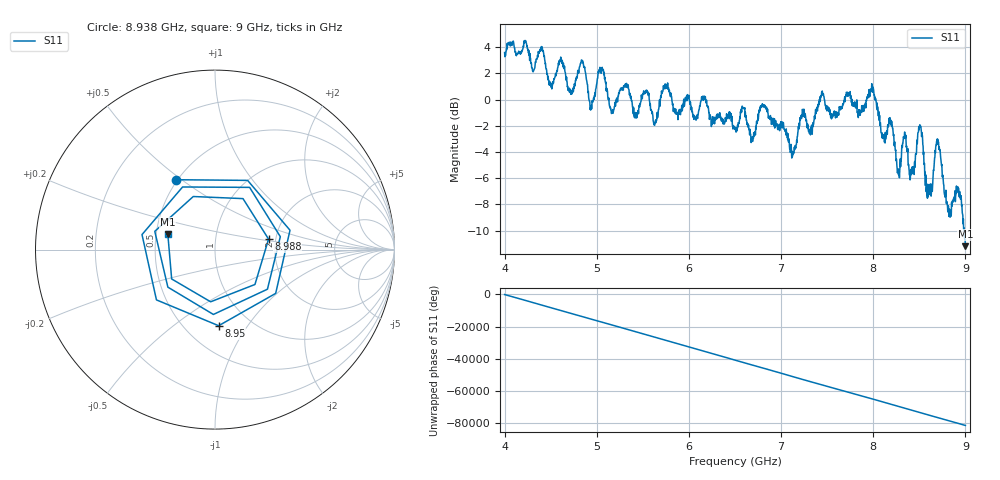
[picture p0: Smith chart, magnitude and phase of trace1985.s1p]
! Created with skrf 1.8.0 (http://scikit-rf.org).
# Hz S RI R 50.0
!freq ReS11 ImS11
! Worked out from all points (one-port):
!   1601 points, 4 GHz to 9 GHz, reference 50 ohm
!   lowest |S11| = -11.2 dB at 9 GHz (marker M1), VSWR 1.76, Z = 28.8 + j5.27 ohm
!   |S11| at or under -10 dB: 8.985545 GHz to end of sweep
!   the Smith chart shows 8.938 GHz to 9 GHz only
!   S11 on the Smith chart (normalised r, x): 8.938 GHz: 0.49, +0.48; 8.95 GHz: 0.72, -0.74; 8.988 GHz: 1.83, +0.24; 9 GHz: 0.58, +0.11
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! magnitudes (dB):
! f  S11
! 4 GHz  3.6
! 4.4 GHz  4.0
! 4.506 GHz  0.9
! 4.625 GHz  3.0
! 4.722 GHz  0.6
! 4.847 GHz  3.0
! 4.938 GHz  -0.6
! 5.047 GHz  2.0
! 5.162 GHz  -1.0
! 5.25 GHz  0.7
! 5.875 GHz  -1.0
! 6.5 GHz  -2.3
! 6.819 GHz  -0.4
! 7.125 GHz  -4.3
! 7.441 GHz  0.6
! 7.75 GHz  0.6
! 7.991 GHz  0.6
! 8.272 GHz  -5.4
! 8.375 GHz  -3.7
! 8.419 GHz  -5.5
! 8.509 GHz  -2.1
! 8.597 GHz  -7.4
! 8.7 GHz  -3.0
! 8.822 GHz  -8.9
! 8.938 GHz  -7.0
! 8.95 GHz  -7.4
! 8.988 GHz  -10.3
! 9 GHz  -11.2
